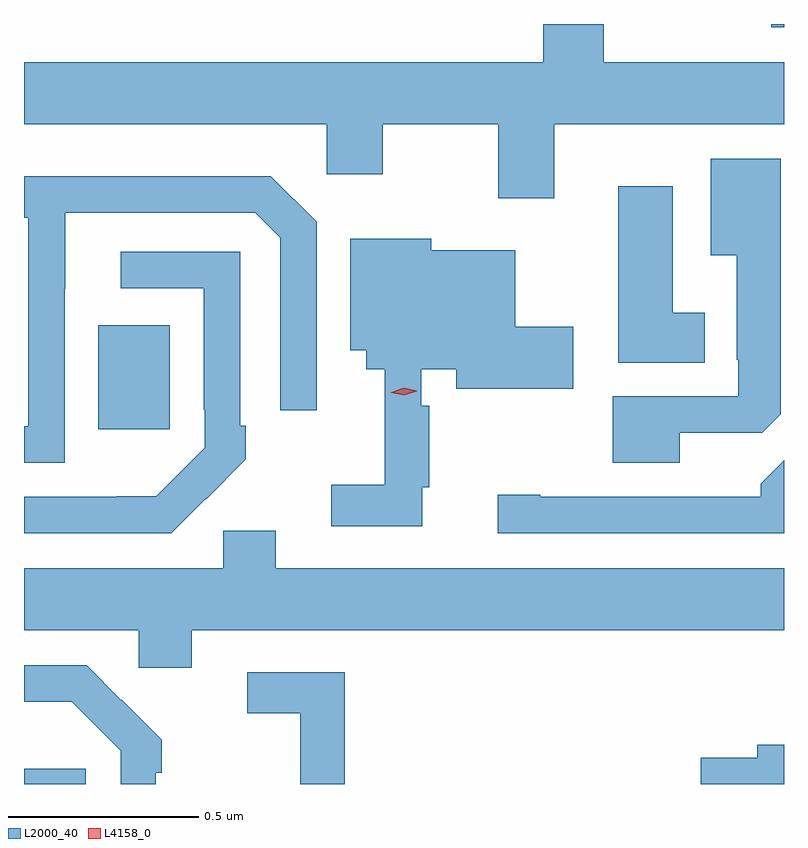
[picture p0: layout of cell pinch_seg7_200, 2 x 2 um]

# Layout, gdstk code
import gdstk
lib = gdstk.Library(unit=1e-6, precision=1e-09)
def R(c, l, rs):  # rectangles x0, y0, x1, y1
    for r in rs: c.add(gdstk.rectangle(r[:2], r[2:], *l))
def P(c, l, *ps):  # polygons
    for p in ps: c.add(gdstk.Polygon(p, *l))
L2000_40 = (2000, 40)
L4158_0 = (4158, 0)

pinch_seg7_200 = lib.new_cell('pinch_seg7_200')
R(pinch_seg7_200, L2000_40, [(1093.291,1008.204,1093.453,1008.244), (1093.487,1009.137,1093.675,1009.411), (1095.257,1010.195,1095.291,1010.204)])
P(pinch_seg7_200, L2000_40, [(1094.686,1009.94),(1095.291,1009.94),(1095.291,1010.104),(1094.817,1010.104),(1094.817,1010.204),(1094.657,1010.204),(1094.657,1010.104),(1093.291,1010.104),(1093.291,1009.94),(1094.088,1009.94),(1094.088,1009.809),(1094.235,1009.809),(1094.235,1009.94),(1094.539,1009.94),(1094.539,1009.746),(1094.686,1009.746)],
  [(1095.016,1009.128),(1095.234,1009.128),(1095.283,1009.177),(1095.283,1009.849),(1095.098,1009.849),(1095.098,1009.595),(1095.167,1009.595),(1095.167,1009.321),(1095.171,1009.321),(1095.171,1009.224),(1094.84,1009.224),(1094.84,1009.049),(1095.016,1009.049)],
  [(1093.398,1009.507),(1093.399,1009.507),(1093.399,1009.707),(1093.899,1009.707),(1093.965,1009.641),(1093.965,1009.188),(1094.061,1009.188),(1094.061,1009.683),(1093.94,1009.804),(1093.291,1009.804),(1093.291,1009.694),(1093.302,1009.694),(1093.302,1009.146),(1093.291,1009.146),(1093.291,1009.05),(1093.398,1009.05)],
  [(1095.082,1009.444),(1094.998,1009.444),(1094.998,1009.777),(1094.855,1009.777),(1094.855,1009.313),(1095.082,1009.313)],
  [(1094.339,1008.985),(1094.357,1008.985),(1094.357,1009.199),(1094.337,1009.199),(1094.337,1009.295),(1094.429,1009.295),(1094.429,1009.244),(1094.737,1009.244),(1094.737,1009.407),(1094.584,1009.407),(1094.584,1009.609),(1094.363,1009.609),(1094.363,1009.639),(1094.15,1009.639),(1094.15,1009.346),(1094.192,1009.346),(1094.192,1009.295),(1094.24,1009.295),(1094.24,1008.991),(1094.1,1008.991),(1094.1,1008.882),(1094.339,1008.882)],
  [(1093.769,1008.955),(1093.77,1008.954),(1093.875,1009.059),(1093.875,1009.147),(1093.86,1009.147),(1093.86,1009.605),(1093.545,1009.605),(1093.545,1009.509),(1093.764,1009.509),(1093.764,1009.189),(1093.767,1009.189),(1093.767,1009.089),(1093.639,1008.961),(1093.535,1008.961),(1093.535,1008.96),(1093.291,1008.96),(1093.291,1008.864),(1093.678,1008.864)],
  [(1095.291,1009.056),(1095.23,1008.994),(1095.23,1008.96),(1094.65,1008.96),(1094.65,1008.965),(1094.538,1008.965),(1094.538,1008.864),(1095.291,1008.864)],
  [(1093.732,1008.608),(1095.291,1008.608),(1095.291,1008.772),(1093.954,1008.772),(1093.954,1008.87),(1093.815,1008.87),(1093.815,1008.772),(1093.291,1008.772),(1093.291,1008.608),(1093.593,1008.608),(1093.593,1008.51),(1093.732,1008.51)],
  [(1093.638,1008.233),(1093.653,1008.233),(1093.653,1008.321),(1093.548,1008.426),(1093.547,1008.425),(1093.456,1008.516),(1093.291,1008.516),(1093.291,1008.42),(1093.417,1008.42),(1093.545,1008.291),(1093.545,1008.204),(1093.638,1008.204)],
  [(1094.135,1008.498),(1093.878,1008.498),(1093.878,1008.39),(1094.018,1008.39),(1094.018,1008.204),(1094.135,1008.204)],
  [(1095.291,1008.307),(1095.221,1008.307),(1095.221,1008.273),(1095.072,1008.273),(1095.072,1008.204),(1095.291,1008.204)])
P(pinch_seg7_200, L4158_0, [(1094.291,1009.227),(1094.257,1009.234),(1094.257,1009.235),(1094.257,1009.235),(1094.29,1009.247),(1094.324,1009.239),(1094.324,1009.239),(1094.324,1009.238)])

lib.write_gds('pinch_seg7_200.gds')
